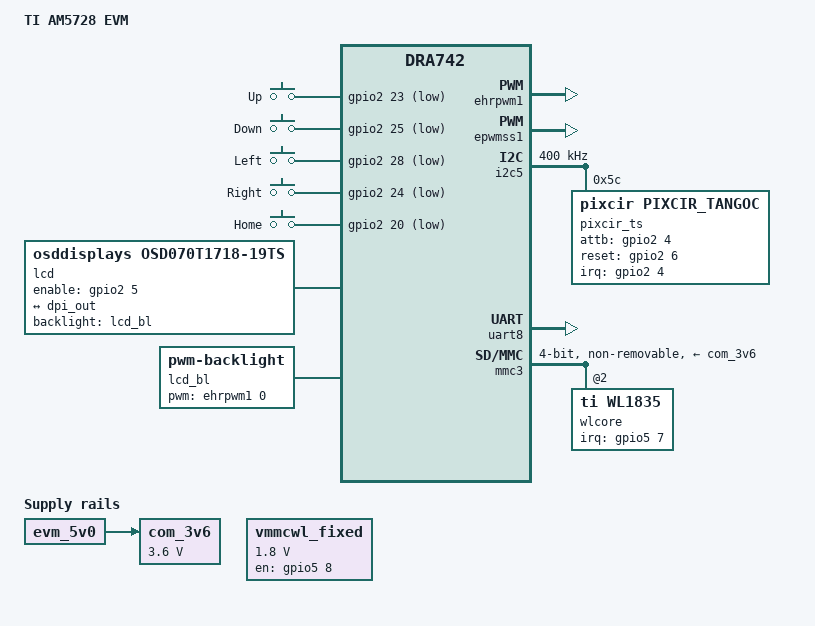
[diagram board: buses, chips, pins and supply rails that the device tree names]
/dts-v1/;
/plugin/;
#include <dt-bindings/interrupt-controller/irq.h>
#include <dt-bindings/gpio/gpio.h>
#include <dt-bindings/input/input.h>

/ {
  fragment@101 {
	target-path = "/";

	__overlay__ {
		compatible = "ti,am5728-evm", "ti,am572x-beagle-x15", "ti,am5728", "ti,dra742", "ti,dra74", "ti,dra7";
		model = "TI AM5728 EVM";

		aliases {
			display0 = "/display";
			display1 = "/connector";
		};

		gpio_keys {
			compatible = "gpio-keys";
			#address-cells = <1>;
			#size-cells = <0>;
			autorepeat;

			USER1 {
				gpios = <&gpio2 23 GPIO_ACTIVE_LOW>;
				label = "Up";
				linux,code = <KEY_UP>;
			};

			USER2 {
				gpios = <&gpio2 25 GPIO_ACTIVE_LOW>;
				label = "Down";
				linux,code = <KEY_DOWN>;
			};

			USER3 {
				gpios = <&gpio2 28 GPIO_ACTIVE_LOW>;
				label = "Left";
				linux,code = <KEY_LEFT>;
			};

			USER4 {
				gpios = <&gpio2 24 GPIO_ACTIVE_LOW>;
				label = "Right";
				linux,code = <KEY_RIGHT>;
			};

			USER5 {
				gpios = <&gpio2 20 GPIO_ACTIVE_LOW>;
				label = "Home";
				linux,code = <KEY_HOME>;
			};
		};

		lcd0: display {
			compatible = "osddisplays,osd070t1718-19ts", "panel-dpi";
			backlight = <&lcd_bl>;
			enable-gpios = <&gpio2 5 GPIO_ACTIVE_HIGH>;
			label = "lcd";

			port {
				lcd_in: endpoint {
					remote-endpoint = <&dpi_out>;
				};
			};
		};

		lcd_bl: backlight {
			compatible = "pwm-backlight";
			brightness-levels = <0 243 245 247 249 251 252 253 255>;
			default-brightness-level = <8>;
			pwms = <&ehrpwm1 0 50000 0>;
		};

		com_3v6: fixedregulator-com_3v6 {
			compatible = "regulator-fixed";
			regulator-name = "com_3v6";
			regulator-min-microvolt = <3600000>;
			regulator-max-microvolt = <3600000>;
			vin-supply = <&evm_5v0>;
			regulator-always-on;
			regulator-boot-on;
		};

		vmmcwl_fixed: fixedregulator-mmcwl {
			compatible = "regulator-fixed";
			regulator-name = "vmmcwl_fixed";
			regulator-min-microvolt = <1800000>;
			regulator-max-microvolt = <1800000>;
			gpio = <&gpio5 8 GPIO_ACTIVE_HIGH>;
			enable-active-high;
		};
	};
  };
};

&ehrpwm1 {
	status = "okay";
};

&epwmss1 {
	status = "okay";
};

&i2c5 {
	#address-cells = <1>;
	#size-cells = <0>;

	clock-frequency = <400000>;
	status = "okay";

	pixcir_ts@5c {
		compatible = "pixcir,pixcir_tangoc";
		attb-gpio = <&gpio2 4 GPIO_ACTIVE_HIGH>;
		interrupt-parent = <&gpio2>;
		interrupts = <4 0>;
		reg = <0x5c>;
		reset-gpio = <&gpio2 6 GPIO_ACTIVE_HIGH>;
		touchscreen-size-x = <1024>;
		touchscreen-size-y = <600>;
	};
};

&uart8 {
	status = "okay";
};

&dss {
	ports {
		#address-cells = <1>;
		#size-cells = <0>;

		port@0 {
			reg = <0>;

			dpi_out: endpoint {
				data-lines = <24>;
				remote-endpoint = <&lcd_in>;
			};
		};
	};
};

&mmc3 {
	status = "okay";
	vmmc-supply = <&com_3v6>;
	vqmmc-supply = <&vmmcwl_fixed>;
	bus-width = <4>;
	cap-power-off-card;
	keep-power-in-suspend;
	non-removable;
	#address-cells = <1>;
	#size-cells = <0>;
	wlcore: wlcore@2 {
		compatible = "ti,wl1835";
		reg = <2>;
		interrupt-parent = <&gpio5>;
		interrupts = <7 IRQ_TYPE_EDGE_RISING>;
	};
};
